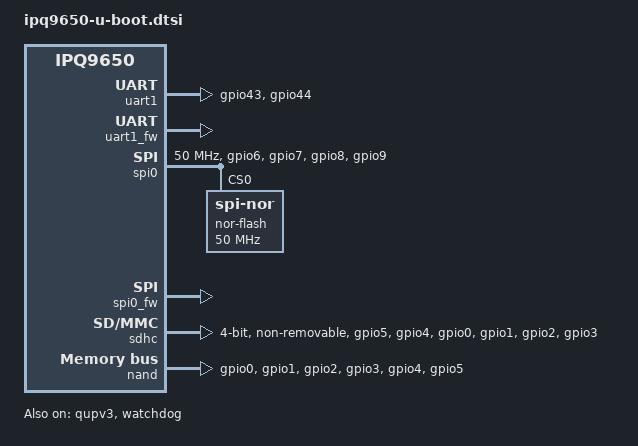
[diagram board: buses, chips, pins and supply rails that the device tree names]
// SPDX-License-Identifier: GPL-2.0+
/*
 * Copyright (c) Qualcomm Technologies, Inc. and/or its subsidiaries.
 */

#include <dt-bindings/interrupt-controller/arm-gic.h>
#include <asm/arch/dt-bindings/clock/qcom,ipq9650-gcc.h>
#include <asm/arch/dt-bindings/reset/qcom,ipq9650-gcc.h>
#include <dt-bindings/gpio/gpio.h>
/ {
	#address-cells = <2>;
	#size-cells = <2>;
	interrupt-parent = <&intc>;

	aliases {
		serial0 = &uart1;
	};

	chosen {
		stdout-path = "serial0:115200n8";
#ifdef CONFIG_BOOT_BANK_FIXUP
		u-boot,booted-bank = "unknown,bootbank";
#endif
	};

	clocks {
		sleep_clk: sleep-clk {
			compatible = "fixed-clock";
			#clock-cells = <0>;
			clock-frequency = <32000>;
		};
	};

	reserved-memory {
		#address-cells = <2>;
		#size-cells = <2>;
		ranges;

		/delete-node/ smem;
		smem_mem: smem_region@8a500000 {
			reg = <0x0 0x8a500000 0x0 0x40000>;
			no-map;
		};

		tfa: tfa_region@0x8a600000 {
			reg = <0x0 0x8a600000 0x0 0x80000>;
			no-map;
		};

		optee: optee_region@0x8a680000 {
			reg = <0x0 0x8a680000 0x0 0x280000>;
			no-map;
		};
	};

	smem {
		compatible = "qcom,smem";
		memory-region = <&smem_mem>;
	};

	psci {
		compatible = "arm,psci-1.0";
		method = "smc";
	};

	soc@0 {
		compatible = "simple-bus";
		#address-cells = <2>;
		#size-cells = <2>;
		ranges = <0 0 0 0 0x10 0>;

		tlmm: pinctrl@1000000 {
			compatible = "qcom,ipq9650-tlmm";
			reg = <0 0x01000000 0 0x300000>;
			gpio-controller;
			#gpio-cells = <2>;
			gpio-ranges = <&tlmm 0 0 53>;
			interrupt-controller;
			#interrupt-cells = <2>;

			uart1_pins: uart1-state {
				rx-pins {
					pins = "gpio43";
					function = "qup_se4_l3";
					drive-strength = <8>;
					bias-pull-down;
				};

				tx-pins {
					pins = "gpio44";
					function = "qup_se4_l2";
					drive-strength = <8>;
					bias-pull-down;
				};
			};
		};

		intc: interrupt-controller@f200000 {
			compatible = "arm,gic-v3";
			reg = <0x0 0x0f200000 0x0 0x10000>, /* GICD */
			      <0x0 0x0f240000 0x0 0xa0000>; /* GICR * 5 regions */
			#interrupt-cells = <0x3>;
			interrupt-controller;
			#redistributor-regions = <1>;
			redistributor-stride = <0x0 0x20000>;
			interrupts = <GIC_PPI 9 IRQ_TYPE_LEVEL_HIGH>;
		};

		tmel_qmp: tmel-qmp@22090000 {
			compatible = "qcom,tmel-qmp-mbox";
			reg = <0x0 0x22090000 0x0 0x20>,
			      <0x0 0x22091000 0x0 0x20>;
			reg-names = "mcore", "ucore";

			interrupts = <GIC_SPI 126 IRQ_TYPE_EDGE_RISING>;
			max_pkt_size = <0x18>;

			#mbox-cells = <0>;
			status = "disabled";
		};

		tmelcom: qcom,tmelcom {
			compatible = "qcom,tmelcom";
			mboxes = <&tmel_qmp>;
			mbox-names = "tmel-qmp-mbox";
			#clock-cells = <1>;
			#power-domain-cells = <1>;
			#reset-cells = <1>;
			status = "disabled";
		};

		gcc: clock-controller@1800000 {
			compatible = "qcom,ipq9650-gcc";
			reg = <0 0x01800000 0 0x40000>;
			#clock-cells = <1>;
			#reset-cells = <1>;
			#power-domain-cells = <1>;
		};

		qupv3: geniqup@1ac0000 {
			compatible = "qcom,geni-se-qup";
			reg = <0 0x01ac0000 0 0x2000>;
			clocks = <&gcc GCC_QUPV3_AHB_MST_CLK>,
				 <&gcc GCC_QUPV3_AHB_SLV_CLK>;
			clock-names = "m-ahb", "s-ahb";
			ranges;
			#address-cells = <2>;
			#size-cells = <2>;

			status = "disabled";

			uart1: serial@1a98000 {
				compatible = "qcom,geni-debug-uart";
				reg = <0 0x1a98000 0 0x4000>;
				clocks = <&gcc GCC_QUPV3_UART2_CLK>;
				clock-names = "se";
				status = "disabled";
			};
		};

		sdhc: mmc@7804000 {
			compatible = "qcom,ipq9650-sdhci", "qcom,sdhci-msm-v5";
			reg = <0 0x07804000 0 0x1000>, <0 0x07805000 0 0x1000>;
			reg-names = "hc", "cqhci";

			clocks = <&gcc GCC_SDCC1_AHB_CLK>,
				 <&gcc GCC_SDCC1_APPS_CLK>;
			clock-names = "iface", "core";

			status = "disabled";
		};

		nand: nand-controller@79B0000 {
			compatible = "qti,spi-nand-v2.1.3";
			#address-cells = <2>;
			#size-cells = <2>;
			reg = <0x0 0x79B0000 0x0 0x10000>;
			assigned-clocks = <&gcc GCC_QPIC_CLK>,
					 <&gcc GCC_QPIC_IO_MACRO_CLK>;
			assigned-clock-rates = <100000000>, <200000000>;
			clock-names = "qpic-clk",
				      "qpic-io-macro-clk",
				      "qpic-ahb-clk";
			clocks = <&gcc GCC_QPIC_CLK>,
				<&gcc GCC_QPIC_IO_MACRO_CLK>,
				<&gcc GCC_QPIC_AHB_CLK>;

			bam_reg = <0x07984000>;
			status_pipe = <3>;
			status_pipe_grp = <0>;
			read_pipe = <1>;
			read_pipe_grp = <0>;
			write_pipe = <0>;
			write_pipe_grp = <0>;
			cmd_pipe = <2>;
			cmd_pipe_grp = <1>;
			pinctrl-0 = <&qspi_pinmux>;
			pinctrl-names = "default";
			status = "okay";
		};

		qmp_ssphy_0: ssphy@7d000 {
			compatible = "qcom,ipq9650-qmp-usb3-phy";
			#address-cells = <2>;
			#size-cells = <2>;
			reg = <0x0 0x7d000 0x0 0x1c0>,
				<0x0 0x7d200 0x0 0x170>,
				<0x0 0x7d400 0x0 0x200>,
				<0x0 0x7d800 0x0 0x1f0>;
			reg-names = "com_base", "tx_base",
				"rx_base", "pcs_base";
			clocks = <&gcc GCC_USB0_PIPE_CLK>;
			#phy-cells = <0>;
			resets =  <&gcc GCC_USB0_PHY_BCR>,
			       <&gcc GCC_USB3PHY_0_PHY_BCR>;
			status = "disabled";
		};

		qusb2_phy_0: qusb2_0@7b000 {
			compatible = "qcom,ipq9650-usb-hs-phy";
			#address-cells = <2>;
			#size-cells = <2>;
			reg = <0x0 0x07b000 0x0 0x114>;
			#phy-cells = <0>;
			clocks = <&gcc GCC_USB0_PHY_CFG_AHB_CLK>;
			clock-names = "cfg_ahb";

			resets = <&gcc GCC_QUSB2_0_PHY_BCR>;
			status = "disabled";
		};

		qusb2_phy_1: qusb2_1@71000 {
			compatible = "qcom,ipq9650-usb-hs-phy";
			#address-cells = <2>;
			#size-cells = <2>;
			reg = <0x0 0x071000 0x0 0x114>;
			#phy-cells = <0>;
			clocks = <&gcc GCC_USB1_PHY_CFG_AHB_CLK>;
			clock-names = "cfg_ahb";
			resets = <&gcc GCC_QUSB2_1_PHY_BCR>;
			status = "disabled";
		};

		usb3_0: usb3_0@8af8800 {
			compatible = "qcom,dwc3";
			reg = <0x0 0x8af8800 0x0 0x100>;
			#address-cells = <2>;
			#size-cells = <2>;
			assigned-clocks = <&gcc GCC_USB0_MASTER_CLK>,
				<&gcc GCC_USB0_MOCK_UTMI_CLK>,
				<&gcc GCC_USB0_AUX_CLK>;
			assigned-clock-rates = <200000000>,
				<60000000>,
				<24000000>;
			clocks = <&gcc GCC_USB0_MASTER_CLK>,
				<&gcc GCC_USB0_AUX_CLK>,
				<&gcc GCC_USB0_SLEEP_CLK>,
				<&gcc GCC_USB0_MOCK_UTMI_CLK>,
				<&gcc GCC_USB0_PHY_CFG_AHB_CLK>;
			resets = <&gcc GCC_USB_BCR>;
			ranges;
			qcom,quirk-ref-clk-per = <0x4004010>;
			qcom,quirk-ref-clk-adj = <0x4945720>;
			status = "disabled";

			dwc3@8a00000 {
				compatible = "snps,dwc3";
				reg = <0x0 0x8a00000 0x0 0xf8000>;
				dr_mode = "host";
				snps,dis_u2_susphy_quirk;
				snps,dis_u3_susphy_quirk;
				phys = <&qusb2_phy_0>, <&qmp_ssphy_0>;
				phy-names = "usb2-phy", "usb3-phy";
				maximum-speed = "super-speed";
			};
		};

		/*
		* usb3_1 node configuration makes usb 3.0 controller
		* to use usb 3.0 devices as usb 2.0 device
		*/
		usb3_1: usb3_1@8af8800 {
			compatible = "qcom,dwc3";
			reg = <0x0 0x8af8800 0x0 0x100>;
			#address-cells = <2>;
			#size-cells = <2>;
			assigned-clocks = <&gcc GCC_USB0_MASTER_CLK>,
				<&gcc GCC_USB0_MOCK_UTMI_CLK>,
				<&gcc GCC_USB0_AUX_CLK>;
			assigned-clock-rates = <200000000>,
				<60000000>,
				<24000000>;
			clocks = <&gcc GCC_USB0_MASTER_CLK>,
				<&gcc GCC_USB0_AUX_CLK>,
				<&gcc GCC_USB0_SLEEP_CLK>,
				<&gcc GCC_USB0_MOCK_UTMI_CLK>,
				<&gcc GCC_USB0_PHY_CFG_AHB_CLK>;
			resets = <&gcc GCC_USB_BCR>;
			ranges;
			qcom,quirk-ref-clk-per = <0x4004010>;
			qcom,quirk-ref-clk-adj = <0x4945720>;
			qcom,select-utmi-as-pipe-clk;
			status = "disabled";

			dwc3@8a00000 {
				compatible = "snps,dwc3";
				reg = <0x0 0x8a00000 0x0 0xf8000>;
				dr_mode = "host";
				snps,dis_u2_susphy_quirk;
				snps,dis_u3_susphy_quirk;
				phys = <&qusb2_phy_0>;
				phy-names = "usb2-phy";
				maximum-speed = "high-speed";
			};
		};

		usb2_0: usb2_0@1ef8800 {
			compatible = "qcom,dwc3";
			reg = <0x0 0x1ef8800 0x0 0x100>;
			#address-cells = <2>;
			#size-cells = <2>;
			assigned-clocks = <&gcc GCC_USB1_MOCK_UTMI_CLK>;
			assigned-clock-rates = <60000000>;
			clocks = <&gcc GCC_USB1_MASTER_CLK>,
				<&gcc GCC_SNOC_USB_CLK>,
				<&gcc GCC_USB1_SLEEP_CLK>,
				<&gcc GCC_USB1_MOCK_UTMI_CLK>,
				<&gcc GCC_USB1_PHY_CFG_AHB_CLK>;
			resets = <&gcc GCC_USB1_BCR>;
			ranges;
			qcom,select-utmi-as-pipe-clk;
			qcom,quirk-ref-clk-per = <0x4004010>;
			qcom,quirk-ref-clk-adj = <0x4945720>;
			status = "disabled";

			dwc3@1e00000 {
				compatible = "snps,dwc3";
				reg = <0x0 0x1e00000 0x0 0xf8000>;
				dr_mode = "host";
				snps,dis_u2_susphy_quirk;
				snps,dis_u3_susphy_quirk;
				phys = <&qusb2_phy_1>;
				phy-names = "usb2-phy";
				maximum-speed = "high-speed";
			};
		};

		pcie0_phy: phy@84000 {
			compatible = "qcom,ipq9650-qmp-gen3x1-pcie-phy";
			reg = <0x0 0x00084000 0x0 0x1c0>; /* Serdes PLL */
			#address-cells = <1>;
			#size-cells = <1>;

			clocks = <&gcc GCC_PCIE0_AUX_CLK>,
				 <&gcc GCC_PCIE0_AHB_CLK>,
				 <&gcc GCC_PCIE0_RCHNG_CLK>,
				 <&gcc GCC_PCIE0_PIPE_CLK>,
				 <&gcc GCC_ANOC_PCIE0_1LANE_M_CLK>,
				 <&gcc GCC_ANOC_PCIE0_1LANE_S_CLK>;
			clock-names = "aux", "cfg_ahb", "rchng", "pipe",
					"lane_m", "lane_s";

			resets = <&gcc GCC_PCIE0_PHY_BCR>,
				 <&gcc GCC_PCIE0PHY_PHY_BCR>;
			reset-names = "phy", "common";

			#phy-cells = <0>;
			status = "disabled";
		};

		pcie4_phy: phy@8c000 {
			compatible = "qcom,ipq9650-qmp-gen3x1-pcie-phy";
			reg = <0x0 0x0008c000 0x0 0x1c0>; /* Serdes PLL */
			#address-cells = <1>;
			#size-cells = <1>;

			clocks = <&gcc GCC_PCIE4_AUX_CLK>,
				 <&gcc GCC_PCIE4_AHB_CLK>,
				 <&gcc GCC_PCIE4_RCHNG_CLK>,
				 <&gcc GCC_PCIE4_PIPE_CLK>,
				 <&gcc GCC_ANOC_PCIE4_1LANE_M_CLK>,
				 <&gcc GCC_ANOC_PCIE4_1LANE_S_CLK>;
			clock-names = "aux", "cfg_ahb", "rchng", "pipe",
					"lane_m", "lane_s";

			resets = <&gcc GCC_PCIE4_PHY_BCR>,
				 <&gcc GCC_PCIE4PHY_PHY_BCR>;
			reset-names = "phy", "common";

			#phy-cells = <0>;
			status = "disabled";
		};

		pcie3_phy: phy@b4000 {
			compatible = "qcom,ipq9650-qmp-gen3x2-pcie-phy";
			reg = <0x0 0x000b4000 0x0 0x1c0>; /* Serdes PLL */
			#address-cells = <1>;
			#size-cells = <1>;

			clocks = <&gcc GCC_PCIE3_AUX_CLK>,
				 <&gcc GCC_PCIE3_AHB_CLK>,
				 <&gcc GCC_PCIE3_RCHNG_CLK>,
				 <&gcc GCC_PCIE3_PIPE_CLK>,
				 <&gcc GCC_ANOC_PCIE3_2LANE_M_CLK>,
				 <&gcc GCC_ANOC_PCIE3_2LANE_S_CLK>;
			clock-names = "aux", "cfg_ahb", "rchng", "pipe",
					"lane_m", "lane_s";

			resets = <&gcc GCC_PCIE3_PHY_BCR>,
				 <&gcc GCC_PCIE3PHY_PHY_BCR>;
			reset-names = "phy", "common";

			#phy-cells = <0>;
			status = "disabled";
		};

		pcie1_phy: phy@f4000 {
			compatible = "qcom,ipq9650-qmp-gen3x2-pcie-phy";
			reg = <0x0 0x000f4000 0x0 0x1c0>; /* Serdes PLL */
			#address-cells = <1>;
			#size-cells = <1>;

			clocks = <&gcc GCC_PCIE1_AUX_CLK>,
				 <&gcc GCC_PCIE1_AHB_CLK>,
				 <&gcc GCC_PCIE1_RCHNG_CLK>,
				 <&gcc GCC_PCIE1_PIPE_CLK>,
				 <&gcc GCC_ANOC_PCIE1_2LANE_M_CLK>,
				 <&gcc GCC_ANOC_PCIE1_2LANE_S_CLK>;
			clock-names = "aux", "cfg_ahb", "rchng", "pipe",
					"lane_m", "lane_s";

			resets = <&gcc GCC_PCIE1_PHY_BCR>,
				 <&gcc GCC_PCIE1PHY_PHY_BCR>;
			reset-names = "phy", "common";

			#phy-cells = <0>;
			status = "disabled";
		};

		pcie2_phy: phy@fc000 {
			compatible = "qcom,ipq9650-qmp-gen3x2-pcie-phy";
			reg = <0x0 0x000fc000 0x0 0x1c0>; /* Serdes PLL */
			#address-cells = <1>;
			#size-cells = <1>;

			clocks = <&gcc GCC_PCIE2_AUX_CLK>,
				 <&gcc GCC_PCIE2_AHB_CLK>,
				 <&gcc GCC_PCIE2_RCHNG_CLK>,
				 <&gcc GCC_PCIE2_PIPE_CLK>,
				 <&gcc GCC_ANOC_PCIE2_2LANE_M_CLK>,
				 <&gcc GCC_ANOC_PCIE2_2LANE_S_CLK>;
			clock-names = "aux", "cfg_ahb", "rchng", "pipe",
					"lane_m", "lane_s";

			resets = <&gcc GCC_PCIE2_PHY_BCR>,
				 <&gcc GCC_PCIE2PHY_PHY_BCR>;
			reset-names = "phy", "common";

			#phy-cells = <0>;
			status = "disabled";
		};

		/* 2L controller */
		pcie3: pcie@30000000 {
			compatible = "qcom,pcie-ipq9650";
			reg =  <0x0 0x30000000 0x0 0xf1d>,
			       <0x0 0x30000f20 0x0 0xa8>,
			       <0x0 0x30001000 0x0 0x1000>,
			       <0x0 0xb0000 0x0 0x3000>,
			       <0x0 0x30100000 0x0 0x1000>;
			reg-names = "dbi", "elbi", "atu", "parf", "config";
			device_type = "pci";
			linux,pci-domain = <3>;
			bus-range = <0x00 0xff>;
			num-lanes = <2>;
			#address-cells = <3>;
			#size-cells = <2>;
			axi-halt-val = <0x1e>; /* increase halt window size to 1GB */
			id = <3>;

			ranges = <0x81000000 0 0x30200000 0x0 0x30200000 0 0x00100000>,   /* downstream I/O */
				 <0x82000000 0 0x30300000 0x0 0x30300000 0 0x0fd00000>; /* non-prefetchable memory */

			clocks = <&gcc GCC_PCIE3_AXI_M_CLK>,
				 <&gcc GCC_PCIE3_AXI_S_CLK>,
				 <&gcc GCC_PCIE3_AHB_CLK>,
				 <&gcc GCC_PCIE3_AUX_CLK>,
				 <&gcc GCC_PCIE3_AXI_S_BRIDGE_CLK>;

			clock-names = "axi_m",
				      "axi_s",
				      "ahb",
				      "aux",
				      "axi_bridge";

			assigned-clocks = <&gcc GCC_PCIE3_AUX_CLK>,
					<&gcc GCC_PCIE3_AXI_M_CLK>,
					<&gcc GCC_PCIE3_AXI_S_CLK>,
					<&gcc GCC_PCIE3_RCHNG_CLK>;

			assigned-clock-rates = <20000000>,
						<266666666>,
						<200000000>,
						<100000000>;

			resets = <&gcc GCC_PCIE3_PIPE_ARES>,
				 <&gcc GCC_PCIE3_CORE_STICKY_RESET>,
				 <&gcc GCC_PCIE3_AXI_M_ARES>,
				 <&gcc GCC_PCIE3_AXI_S_ARES>,
				 <&gcc GCC_PCIE3_AXI_M_STICKY_RESET>,
				 <&gcc GCC_PCIE3_AXI_S_STICKY_RESET>,
				 <&gcc GCC_PCIE3_AHB_ARES>,
				 <&gcc GCC_PCIE3_AUX_ARES>;

			reset-names = "pipe",
				      "sticky",
				      "axi_m",
				      "axi_s",
				      "axi_m_sticky",
				      "axi_s_sticky",
				      "ahb",
				      "aux";

			msi-parent = <&intc>;

			phys = <&pcie3_phy>;
			phy-names = "pciephy";

			status = "disabled";
		};

		/* 2L controller */
		pcie2: pcie@40000000 {
			compatible = "qcom,pcie-ipq9650";
			reg =  <0x0 0x40000000 0x0 0xf1d>,
			       <0x0 0x40000f20 0x0 0xa8>,
			       <0x0 0x40001000 0x0 0x1000>,
			       <0x0 0x000f8000 0x0 0x3000>,
			       <0x0 0x40100000 0x0 0x1000>;
			reg-names = "dbi", "elbi", "atu", "parf", "config";
			device_type = "pci";
			linux,pci-domain = <2>;
			bus-range = <0x00 0xff>;
			num-lanes = <2>;
			#address-cells = <3>;
			#size-cells = <2>;
			axi-halt-val = <0x1e>; /* increase halt window size to 1GB */
			id = <2>;

			ranges = <0x81000000 0 0x40200000 0x0 0x40200000 0 0x00100000>,   /* downstream I/O */
				 <0x82000000 0 0x40300000 0x0 0x40300000 0 0x0fd00000>; /* non-prefetchable memory */

			clocks = <&gcc GCC_PCIE2_AXI_M_CLK>,
				 <&gcc GCC_PCIE2_AXI_S_CLK>,
				 <&gcc GCC_PCIE2_AHB_CLK>,
				 <&gcc GCC_PCIE2_AUX_CLK>,
				 <&gcc GCC_PCIE2_AXI_S_BRIDGE_CLK>;

			clock-names = "axi_m",
				      "axi_s",
				      "ahb",
				      "aux",
				      "axi_bridge";

			assigned-clocks = <&gcc GCC_PCIE2_AUX_CLK>,
					<&gcc GCC_PCIE2_AXI_M_CLK>,
					<&gcc GCC_PCIE2_AXI_S_CLK>,
					<&gcc GCC_PCIE2_RCHNG_CLK>;

			assigned-clock-rates = <20000000>,
						<266666666>,
						<200000000>,
						<100000000>;

			resets = <&gcc GCC_PCIE2_PIPE_ARES>,
				 <&gcc GCC_PCIE2_CORE_STICKY_RESET>,
				 <&gcc GCC_PCIE2_AXI_M_ARES>,
				 <&gcc GCC_PCIE2_AXI_S_ARES>,
				 <&gcc GCC_PCIE2_AXI_M_STICKY_RESET>,
				 <&gcc GCC_PCIE2_AXI_S_STICKY_RESET>,
				 <&gcc GCC_PCIE2_AHB_ARES>,
				 <&gcc GCC_PCIE2_AUX_ARES>;

			reset-names = "pipe",
				      "sticky",
				      "axi_m",
				      "axi_s",
				      "axi_m_sticky",
				      "axi_s_sticky",
				      "ahb",
				      "aux";

			msi-parent = <&intc>;

			phys = <&pcie2_phy>;
			phy-names = "pciephy";

			status = "disabled";
		};
		/* 2L controller */
		pcie1: pcie@50000000 {
			compatible = "qcom,pcie-ipq9650";
			reg =  <0x0 0x50000000 0x0 0xf1d>,
			       <0x0 0x50000f20 0x0 0xa8>,
			       <0x0 0x50001000 0x0 0x1000>,
			       <0x0 0x000f0000 0x0 0x3000>,
			       <0x0 0x50100000 0x0 0x1000>;
			reg-names = "dbi", "elbi", "atu", "parf", "config";
			device_type = "pci";
			linux,pci-domain = <1>;
			bus-range = <0x00 0xff>;
			num-lanes = <2>;
			#address-cells = <3>;
			#size-cells = <2>;
			axi-halt-val = <0x1e>; /* increase halt window size to 1GB */
			id = <1>;

			ranges = <0x81000000 0 0x50200000 0x0 0x50200000 0 0x00100000>,   /* downstream I/O */
				 <0x82000000 0 0x50300000 0x0 0x50300000 0 0x0fd00000>; /* non-prefetchable memory */

			clocks = <&gcc GCC_PCIE1_AXI_M_CLK>,
				 <&gcc GCC_PCIE1_AXI_S_CLK>,
				 <&gcc GCC_PCIE1_AHB_CLK>,
				 <&gcc GCC_PCIE1_AUX_CLK>,
				 <&gcc GCC_PCIE1_AXI_S_BRIDGE_CLK>;

			clock-names = "axi_m",
				      "axi_s",
				      "ahb",
				      "aux",
				      "axi_bridge";

			assigned-clocks = <&gcc GCC_PCIE1_AUX_CLK>,
					<&gcc GCC_PCIE1_AXI_M_CLK>,
					<&gcc GCC_PCIE1_AXI_S_CLK>,
					<&gcc GCC_PCIE1_RCHNG_CLK>;

			assigned-clock-rates = <20000000>,
						<266666666>,
						<200000000>,
						<100000000>;

			resets = <&gcc GCC_PCIE1_PIPE_ARES>,
				 <&gcc GCC_PCIE1_CORE_STICKY_RESET>,
				 <&gcc GCC_PCIE1_AXI_M_ARES>,
				 <&gcc GCC_PCIE1_AXI_S_ARES>,
				 <&gcc GCC_PCIE1_AXI_M_STICKY_RESET>,
				 <&gcc GCC_PCIE1_AXI_S_STICKY_RESET>,
				 <&gcc GCC_PCIE1_AHB_ARES>,
				 <&gcc GCC_PCIE1_AUX_ARES>;

			reset-names = "pipe",
				      "sticky",
				      "axi_m",
				      "axi_s",
				      "axi_m_sticky",
				      "axi_s_sticky",
				      "ahb",
				      "aux";

			msi-parent = <&intc>;

			phys = <&pcie1_phy>;
			phy-names = "pciephy";

			status = "disabled";
		};

		/* 1L controller */
		pcie4: pcie@60000000 {
			compatible = "qcom,pcie-ipq9650";
			reg =  <0x0 0x60000000 0x0 0xf1d>,
			       <0x0 0x60000f20 0x0 0xa8>,
			       <0x0 0x60001000 0x0 0x1000>,
			       <0x0 0x80000 0x0 0x3000>,
			       <0x0 0x60100000 0x0 0x1000>;
			reg-names = "dbi", "elbi", "atu", "parf", "config";
			device_type = "pci";
			linux,pci-domain = <4>;
			bus-range = <0x00 0xff>;
			num-lanes = <1>;
			#address-cells = <3>;
			#size-cells = <2>;
			axi-halt-val = <0x1e>; /* increase halt window size to 1GB */
			id = <4>;

			ranges = <0x81000000 0 0x60200000 0x0 0x60200000 0 0x00100000>,   /* downstream I/O */
				 <0x82000000 0 0x60300000 0x0 0x60300000 0 0x0fd00000>; /* non-prefetchable memory */

			clocks = <&gcc GCC_PCIE4_AXI_M_CLK>,
				 <&gcc GCC_PCIE4_AXI_S_CLK>,
				 <&gcc GCC_PCIE4_AHB_CLK>,
				 <&gcc GCC_PCIE4_AUX_CLK>,
				 <&gcc GCC_PCIE4_AXI_S_BRIDGE_CLK>;

			clock-names = "axi_m",
				      "axi_s",
				      "ahb",
				      "aux",
				      "axi_bridge";

			assigned-clocks = <&gcc GCC_PCIE4_AUX_CLK>,
					<&gcc GCC_PCIE4_AXI_M_CLK>,
					<&gcc GCC_PCIE4_AXI_S_CLK>,
					<&gcc GCC_PCIE4_RCHNG_CLK>;

			assigned-clock-rates = <20000000>,
						<200000000>,
						<200000000>,
						<100000000>;

			resets = <&gcc GCC_PCIE4_PIPE_ARES>,
				 <&gcc GCC_PCIE4_CORE_STICKY_RESET>,
				 <&gcc GCC_PCIE4_AXI_M_ARES>,
				 <&gcc GCC_PCIE4_AXI_S_ARES>,
				 <&gcc GCC_PCIE4_AXI_M_STICKY_RESET>,
				 <&gcc GCC_PCIE4_AXI_S_STICKY_RESET>,
				 <&gcc GCC_PCIE4_AHB_ARES>,
				 <&gcc GCC_PCIE4_AUX_ARES>;

			reset-names = "pipe",
				      "sticky",
				      "axi_m",
				      "axi_s",
				      "axi_m_sticky",
				      "axi_s_sticky",
				      "ahb",
				      "aux";

			msi-parent = <&intc>;

			phys = <&pcie4_phy>;
			phy-names = "pciephy";

			status = "disabled";
		};

		/* 1L controller */
		pcie0: pcie@70000000 {
			compatible = "qcom,pcie-ipq9650";
			reg =  <0x0 0x70000000 0x0 0xf1d>,
			       <0x0 0x70000f20 0x0 0xa8>,
			       <0x0 0x70001000 0x0 0x1000>,
			       <0x0 0x80000 0x0 0x3000>,
			       <0x0 0x70100000 0x0 0x1000>;
			reg-names = "dbi", "elbi", "atu", "parf", "config";
			device_type = "pci";
			linux,pci-domain = <0>;
			bus-range = <0x00 0xff>;
			num-lanes = <1>;
			#address-cells = <3>;
			#size-cells = <2>;
			axi-halt-val = <0x1e>; /* increase halt window size to 1GB */
			id = <0>;

			ranges = <0x81000000 0 0x70200000 0x0 0x70200000 0 0x00100000>,   /* downstream I/O */
				 <0x82000000 0 0x70300000 0x0 0x70300000 0 0x0fd00000>; /* non-prefetchable memory */

			clocks = <&gcc GCC_PCIE0_AXI_M_CLK>,
				 <&gcc GCC_PCIE0_AXI_S_CLK>,
				 <&gcc GCC_PCIE0_AHB_CLK>,
				 <&gcc GCC_PCIE0_AUX_CLK>,
				 <&gcc GCC_PCIE0_AXI_S_BRIDGE_CLK>;

			clock-names = "axi_m",
				      "axi_s",
				      "ahb",
				      "aux",
				      "axi_bridge";

			assigned-clocks = <&gcc GCC_PCIE0_AUX_CLK>,
					<&gcc GCC_PCIE0_AXI_M_CLK>,
					<&gcc GCC_PCIE0_AXI_S_CLK>,
					<&gcc GCC_PCIE0_RCHNG_CLK>;

			assigned-clock-rates = <20000000>,
						<200000000>,
						<200000000>,
						<100000000>;

			resets = <&gcc GCC_PCIE0_PIPE_ARES>,
				 <&gcc GCC_PCIE0_CORE_STICKY_RESET>,
				 <&gcc GCC_PCIE0_AXI_M_ARES>,
				 <&gcc GCC_PCIE0_AXI_S_ARES>,
				 <&gcc GCC_PCIE0_AXI_M_STICKY_RESET>,
				 <&gcc GCC_PCIE0_AXI_S_STICKY_RESET>,
				 <&gcc GCC_PCIE0_AHB_ARES>,
				 <&gcc GCC_PCIE0_AUX_ARES>;

			reset-names = "pipe",
				      "sticky",
				      "axi_m",
				      "axi_s",
				      "axi_m_sticky",
				      "axi_s_sticky",
				      "ahb",
				      "aux";

			msi-parent = <&intc>;

			phys = <&pcie0_phy>;
			phy-names = "pciephy";

			status = "disabled";
		};
		watchdog: non-sec@f410000 {
			compatible = "qcom,apss-wdt-ipq9650", "qcom,kpss-wdt";
			#address-cells = <2>;
			#size-cells = <2>;
			reg =  <0x0 0xf410000 0x0 0x1000>;
			clocks = <&sleep_clk>;
			timeout-sec = <30>;
			status = "okay";
		};
	};
};

&tlmm {
	uart1_pins: uart1-state {
		bootph-all;
	};

	sdc_default_state: sdc-default-state {
		clk-pins {
			pins = "gpio5";
			function = "sdc_clk";
			drive-strength = <8>;
			bias-disable;
		};

		cmd-pins {
			pins = "gpio4";
			function = "sdc_cmd";
			drive-strength = <8>;
			bias-pull-up;
		};

		data-pins {
			pins = "gpio0", "gpio1", "gpio2", "gpio3";
			function = "sdc_data";
			drive-strength = <8>;
			bias-pull-up;
		};
	};

	spi0_pinmux: spi0 {
		spi0_sclk {
			pins = "gpio6";
			function = "qup_se0_l2";
			drive-strength = <8>;
			bias-pull-down;
		};

		spi0_cs0 {
			pins = "gpio7";
			function = "qup_se0_l3";
			drive-strength = <8>;
			bias-pull-down;
		};

		spi0_miso {
			pins = "gpio8";
			function = "qup_se0_l0";
			drive-strength = <8>;
			bias-pull-down;
		};

		spi0_mosi {
			pins = "gpio9";
			function = "qup_se0_l1";
			drive-strength = <8>;
			bias-pull-down;
		};
	};

	qspi_pinmux: nand {
		qspi_data {
			pins = "gpio0", "gpio1", "gpio2","gpio3";
			function = "qspi_data";
			drive-strength = <8>;
			bias-pull-up;
		};

		qspi_cs_n {
			pins = "gpio4";
			function = "qspi_cs";
			drive-strength = <8>;
			bias-pull-up;
                };

		qspi_clk {
			pins = "gpio5";
			function = "qspi_clk";
			drive-strength = <8>;
			bias-disable;
		};
        };
};

&sdhc {
	bus-width = <4>;
	max-frequency = <192000000>;
	mmc-ddr-1_8v;
	non-removable;
	pinctrl-0 = <&sdc_default_state>;
	pinctrl-names = "default";
	sdhci-caps-mask = <0x0 0x04000000>;
	sdhci-caps = <0x0 0x04000000>;
	resets = <&gcc GCC_SDCC_BCR>;
	reset-names = "bcr_rst";
	status = "okay";
};

&qupv3 {
	status = "okay";
	uart1: serial@1a98000 {
		pinctrl-0 = <&uart1_pins>;
		pinctrl-names = "default";
		qup-se-fw-load = <&uart1_fw>;
		status = "okay";
	};

	uart1_fw: uart_firmware@0 {
		compatible = "qcom,ipq9650-geni-uart-fw-v1", "qcom,geni-uart-fw-v1";
		reg = <0 0x01a98000 0 0x4000>;
		status = "okay";
	};

	spi0: spi@1a80000 {
		compatible = "qcom-ipq9650-geni-spi","qcom-ipq5424-geni-spi";
		reg = <0 0x1a80000 0 0x4000>;
		reg-names = "se_phys";
		clocks = <&gcc GCC_QUPV3_SPI0_CLK>;
		clock-names = "se-spi-clk";
		clock-frequency = <50000000>;
		nor-blk-enable;
		status = "okay";
		#address-cells = <1>;
		#size-cells = <0>;
		qup-se-fw-load = <&spi0_fw>;
		tx-fifo-depth=<32>;

		pinctrl-0 = <&spi0_pinmux>;
		pinctrl-names = "default";

		nor-flash@0 {
			compatible = "jedec,spi-nor";
			reg = <0 0 0 0>;
			spi-max-frequency = <50000000>;
		};
	};

	spi0_fw: spi_firmware@0 {
		compatible = "qcom,ipq9650-geni-spi-fw-v1", "qcom,geni-spi-fw-v1";
		reg = <0 0x1a80000 0 0x4000>;
		reg-names = "se_phys";
		status = "okay";
	};

	i2c0: i2c@1a88000 {
		compatible = "qcom,geni-i2c";
		reg = <0x0 0x1a88000 0x0 0x4000>;
		reg-names = "se_phys";
		assigned-clocks = <&gcc GCC_QUPV3_I2C_SE2_CLK>;
		assigned-clock-rates = <64000000>;
		clocks = <&gcc GCC_QUPV3_I2C_SE2_CLK>;
		clock-names = "se";
		clock-frequency = <400000>;
		qup-se-fw-load = <&i2c0_fw>;
		qcom,geni-se-clk-32mhz;
		status = "disabled";
	};

	i2c0_fw: i2c0_firmware@0 {
		compatible = "qcom,ipq9650-geni-i2c-fw-v1", "qcom,geni-i2c-fw-v1";
		reg = <0x0 0x1a88000 0x0 0x4000>;
		status = "disabled";
	};

	i2c1: i2c@1a8c000 {
		compatible = "qcom,geni-i2c";
		reg = <0x0 0x1a8c000 0x0 0x4000>;
		reg-names = "se_phys";
		assigned-clocks = <&gcc GCC_QUPV3_I2C_SE3_CLK>;
		assigned-clock-rates = <64000000>;
		clocks = <&gcc GCC_QUPV3_I2C_SE3_CLK>;
		clock-names = "se";
		clock-frequency = <400000>;
		qup-se-fw-load = <&i2c1_fw>;
		qcom,geni-se-clk-32mhz;
		status = "disabled";
	};

	i2c1_fw: i2c1_firmware@0 {
		compatible = "qcom,ipq9650-geni-i2c-fw-v1", "qcom,geni-i2c-fw-v1";
		reg = <0x0 0x1a8c000 0x0 0x4000>;
		status = "disabled";
	};
};
